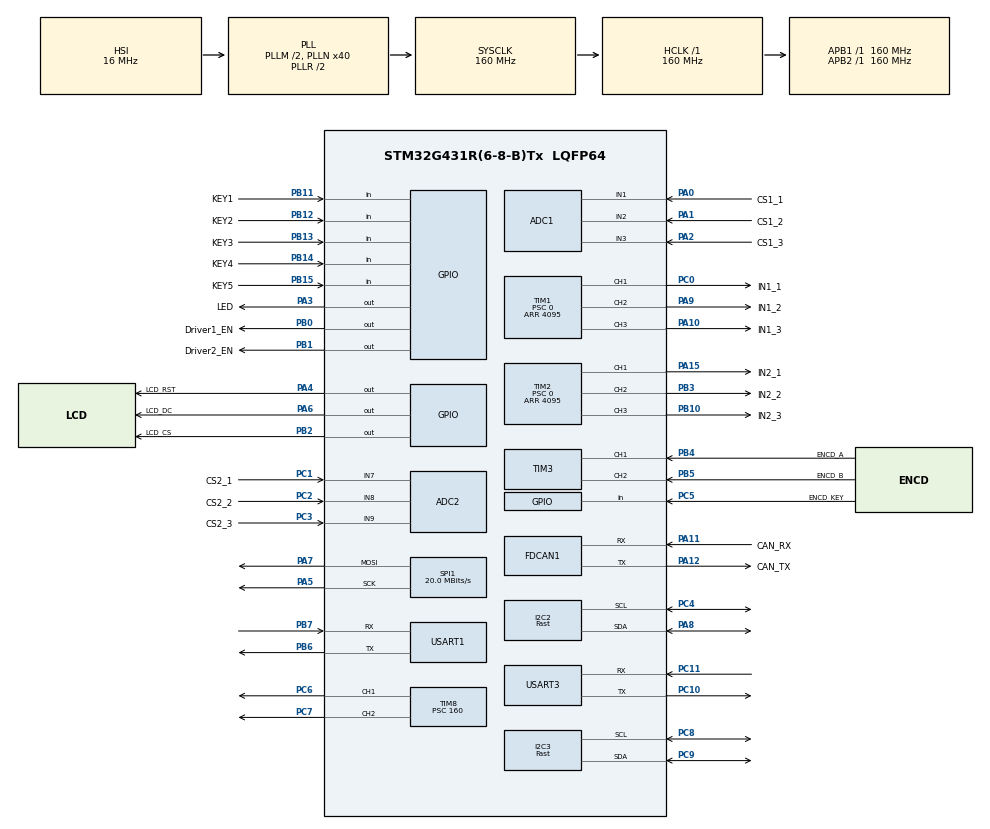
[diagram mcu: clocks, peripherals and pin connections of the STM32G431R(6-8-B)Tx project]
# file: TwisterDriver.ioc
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ADC1.Channel-3\#ChannelRegularConversion=ADC_CHANNEL_1
ADC1.Channel-4\#ChannelRegularConversion=ADC_CHANNEL_2
ADC1.Channel-5\#ChannelRegularConversion=ADC_CHANNEL_3
ADC1.ClockPrescaler=ADC_CLOCK_ASYNC_DIV10
ADC1.DiscontinuousConvMode=ENABLE
ADC1.NbrOfConversion=3
ADC1.NbrOfConversionFlag=1
ADC1.OffsetNumber-3\#ChannelRegularConversion=ADC_OFFSET_NONE
ADC1.OffsetNumber-4\#ChannelRegularConversion=ADC_OFFSET_NONE
ADC1.OffsetNumber-5\#ChannelRegularConversion=ADC_OFFSET_NONE
ADC1.Rank-3\#ChannelRegularConversion=1
ADC1.Rank-4\#ChannelRegularConversion=2
ADC1.Rank-5\#ChannelRegularConversion=3
ADC1.SamplingTime-3\#ChannelRegularConversion=ADC_SAMPLETIME_12CYCLES_5
ADC1.SamplingTime-4\#ChannelRegularConversion=ADC_SAMPLETIME_12CYCLES_5
ADC1.SamplingTime-5\#ChannelRegularConversion=ADC_SAMPLETIME_12CYCLES_5
ADC1.master=1
ADC2.Channel-0\#ChannelRegularConversion=ADC_CHANNEL_7
ADC2.Channel-1\#ChannelRegularConversion=ADC_CHANNEL_8
ADC2.Channel-2\#ChannelRegularConversion=ADC_CHANNEL_9
ADC2.ClockPrescaler=ADC_CLOCK_ASYNC_DIV10
ADC2.ContinuousConvMode=DISABLE
ADC2.DiscontinuousConvMode=ENABLE
ADC2.NbrOfConversion=3
ADC2.NbrOfConversionFlag=1
ADC2.OffsetNumber-0\#ChannelRegularConversion=ADC_OFFSET_NONE
ADC2.OffsetNumber-1\#ChannelRegularConversion=ADC_OFFSET_NONE
ADC2.OffsetNumber-2\#ChannelRegularConversion=ADC_OFFSET_NONE
ADC2.Rank-0\#ChannelRegularConversion=1
ADC2.Rank-1\#ChannelRegularConversion=2
ADC2.Rank-2\#ChannelRegularConversion=3
ADC2.SamplingTime-0\#ChannelRegularConversion=ADC_SAMPLETIME_6CYCLES_5
ADC2.SamplingTime-1\#ChannelRegularConversion=ADC_SAMPLETIME_6CYCLES_5
ADC2.SamplingTime-2\#ChannelRegularConversion=ADC_SAMPLETIME_6CYCLES_5
Dma.ADC2.2.Direction=DMA_PERIPH_TO_MEMORY
Dma.ADC2.2.EventEnable=DISABLE
Dma.ADC2.2.Instance=DMA1_Channel4
Dma.ADC2.2.MemDataAlignment=DMA_MDATAALIGN_HALFWORD
Dma.ADC2.2.MemInc=DMA_MINC_ENABLE
Dma.ADC2.2.Mode=DMA_NORMAL
Dma.ADC2.2.PeriphDataAlignment=DMA_PDATAALIGN_HALFWORD
Dma.ADC2.2.PeriphInc=DMA_PINC_DISABLE
Dma.ADC2.2.Polarity=HAL_DMAMUX_REQ_GEN_RISING
Dma.ADC2.2.Priority=DMA_PRIORITY_LOW
Dma.ADC2.2.RequestNumber=1
Dma.ADC2.2.SignalID=NONE
Dma.ADC2.2.SyncEnable=DISABLE
Dma.ADC2.2.SyncPolarity=HAL_DMAMUX_SYNC_NO_EVENT
Dma.ADC2.2.SyncRequestNumber=1
Dma.ADC2.2.SyncSignalID=NONE
Dma.Request0=SPI1_TX
Dma.Request1=USART3_RX
Dma.Request2=ADC2
Dma.SPI1_TX.0.Direction=DMA_MEMORY_TO_PERIPH
Dma.SPI1_TX.0.EventEnable=DISABLE
Dma.SPI1_TX.0.Instance=DMA1_Channel1
Dma.SPI1_TX.0.MemDataAlignment=DMA_MDATAALIGN_BYTE
Dma.SPI1_TX.0.MemInc=DMA_MINC_ENABLE
Dma.SPI1_TX.0.Mode=DMA_NORMAL
Dma.SPI1_TX.0.PeriphDataAlignment=DMA_PDATAALIGN_BYTE
Dma.SPI1_TX.0.PeriphInc=DMA_PINC_DISABLE
Dma.SPI1_TX.0.Polarity=HAL_DMAMUX_REQ_GEN_RISING
Dma.SPI1_TX.0.Priority=DMA_PRIORITY_LOW
Dma.SPI1_TX.0.RequestNumber=1
Dma.SPI1_TX.0.SignalID=NONE
Dma.SPI1_TX.0.SyncEnable=DISABLE
Dma.SPI1_TX.0.SyncPolarity=HAL_DMAMUX_SYNC_NO_EVENT
Dma.SPI1_TX.0.SyncRequestNumber=1
Dma.SPI1_TX.0.SyncSignalID=NONE
Dma.USART3_RX.1.Direction=DMA_PERIPH_TO_MEMORY
Dma.USART3_RX.1.EventEnable=DISABLE
Dma.USART3_RX.1.Instance=DMA1_Channel2
Dma.USART3_RX.1.MemDataAlignment=DMA_MDATAALIGN_BYTE
Dma.USART3_RX.1.MemInc=DMA_MINC_ENABLE
Dma.USART3_RX.1.Mode=DMA_NORMAL
Dma.USART3_RX.1.PeriphDataAlignment=DMA_PDATAALIGN_BYTE
Dma.USART3_RX.1.PeriphInc=DMA_PINC_DISABLE
Dma.USART3_RX.1.Polarity=HAL_DMAMUX_REQ_GEN_RISING
Dma.USART3_RX.1.Priority=DMA_PRIORITY_LOW
Dma.USART3_RX.1.RequestNumber=1
Dma.USART3_RX.1.SignalID=NONE
Dma.USART3_RX.1.SyncEnable=DISABLE
Dma.USART3_RX.1.SyncPolarity=HAL_DMAMUX_SYNC_NO_EVENT
Dma.USART3_RX.1.SyncRequestNumber=1
Dma.USART3_RX.1.SyncSignalID=NONE
FDCAN1.CalculateBaudRateNominal=2000000
FDCAN1.CalculateTimeBitNominal=500
FDCAN1.CalculateTimeQuantumNominal=100.0
FREERTOS.Tasks01=defaultTask,0,128,StartDefaultTask,Default,NULL,Dynamic,NULL,NULL
FREERTOS.configENABLE_FPU=1
FREERTOS.configTOTAL_HEAP_SIZE=2048 * 10
I2C2.I2C_Speed_Mode=I2C_Fast
I2C2.Timing=0x00F07BFF
I2C3.I2C_Speed_Mode=I2C_Fast
I2C3.Timing=0x00F07BFF
Mcu.Family=STM32G4
Mcu.Name=STM32G431R(6-8-B)Tx
Mcu.Package=LQFP64
NVIC.DMA1_Channel1_IRQn=true\:5\:0\:false\:false\:true\:true\:false\:true\:true
NVIC.DMA1_Channel2_IRQn=true\:5\:0\:false\:false\:true\:true\:false\:true\:true
NVIC.DMA1_Channel4_IRQn=true\:5\:0\:false\:false\:true\:true\:false\:true\:true
NVIC.PriorityGroup=NVIC_PRIORITYGROUP_4
NVIC.USART1_IRQn=true\:6\:0\:true\:false\:true\:true\:true\:true\:true
NVIC.USART3_IRQn=true\:6\:0\:true\:false\:true\:true\:true\:true\:true
PA0.GPIO_Label=CS1_1
PA0.Signal=SharedAnalog_PA0
PA1.GPIO_Label=CS1_2
PA1.Signal=SharedAnalog_PA1
PA10.GPIO_Label=IN1_3
PA10.Signal=S_TIM1_CH3
PA11.GPIO_Label=CAN_RX
PA11.Mode=FDCAN_Activate
PA11.Signal=FDCAN1_RX
PA12.GPIO_Label=CAN_TX
PA12.Mode=FDCAN_Activate
PA12.Signal=FDCAN1_TX
PA13.Mode=Serial_Wire
PA13.Signal=SYS_JTMS-SWDIO
PA14.Mode=Serial_Wire
PA14.Signal=SYS_JTCK-SWCLK
PA15.GPIO_Label=IN2_1
PA15.Signal=S_TIM2_CH1
PA2.GPIO_Label=CS1_3
PA2.Signal=SharedAnalog_PA2
PA3.GPIO_Label=LED
PA3.Signal=GPIO_Output
PA4.GPIO_Label=LCD_RST
PA4.Signal=GPIO_Output
PA5.GPIO_PuPd=GPIO_PULLUP
PA5.GPIO_Speed=GPIO_SPEED_FREQ_HIGH
PA5.Mode=TX_Only_Simplex_Unidirect_Master
PA5.Signal=SPI1_SCK
PA6.GPIO_Label=LCD_DC
PA6.Signal=GPIO_Output
PA7.GPIO_PuPd=GPIO_PULLUP
PA7.GPIO_Speed=GPIO_SPEED_FREQ_HIGH
PA7.Mode=TX_Only_Simplex_Unidirect_Master
PA7.Signal=SPI1_MOSI
PA8.Mode=I2C
PA8.Signal=I2C2_SDA
PA9.GPIO_Label=IN1_2
PA9.Signal=S_TIM1_CH2
PB0.GPIO_Label=Driver1_EN
PB0.Signal=GPIO_Output
PB1.GPIO_Label=Driver2_EN
PB1.Signal=GPIO_Output
PB10.GPIO_Label=IN2_3
PB10.Signal=S_TIM2_CH3
PB11.GPIO_Label=KEY1
PB11.GPIO_PuPd=GPIO_PULLUP
PB11.Signal=GPIO_Input
PB12.GPIO_Label=KEY2
PB12.GPIO_PuPd=GPIO_PULLUP
PB12.Signal=GPIO_Input
PB13.GPIO_Label=KEY3
PB13.GPIO_PuPd=GPIO_PULLUP
PB13.Signal=GPIO_Input
PB14.GPIO_Label=KEY4
PB14.GPIO_PuPd=GPIO_PULLUP
PB14.Signal=GPIO_Input
PB15.GPIO_Label=KEY5
PB15.GPIO_PuPd=GPIO_PULLUP
PB15.Signal=GPIO_Input
PB2.GPIO_Label=LCD_CS
PB2.Signal=GPIO_Output
PB3.GPIO_Label=IN2_2
PB3.Signal=S_TIM2_CH2
PB4.GPIO_Label=ENCD_A
PB4.GPIO_PuPd=GPIO_PULLUP
PB4.Signal=S_TIM3_CH1
PB5.GPIO_Label=ENCD_B
PB5.GPIO_PuPd=GPIO_PULLUP
PB5.Signal=S_TIM3_CH2
PB6.Mode=Asynchronous
PB6.Signal=USART1_TX
PB7.Mode=Asynchronous
PB7.Signal=USART1_RX
PC0.GPIO_Label=IN1_1
PC0.Signal=S_TIM1_CH1
PC1.GPIO_Label=CS2_1
PC1.Mode=IN7-Single-Ended
PC1.Signal=ADC2_IN7
PC10.Mode=Asynchronous
PC10.Signal=USART3_TX
PC11.Mode=Asynchronous
PC11.Signal=USART3_RX
PC2.GPIO_Label=CS2_2
PC2.Mode=IN8-Single-Ended
PC2.Signal=ADC2_IN8
PC3.GPIO_Label=CS2_3
PC3.Mode=IN9-Single-Ended
PC3.Signal=ADC2_IN9
PC4.Mode=I2C
PC4.Signal=I2C2_SCL
PC5.GPIO_Label=ENCD_KEY
PC5.GPIO_PuPd=GPIO_PULLUP
PC5.Signal=GPIO_Input
PC6.Signal=S_TIM8_CH1
PC7.Signal=S_TIM8_CH2
PC8.Mode=I2C
PC8.Signal=I2C3_SCL
PC9.Mode=I2C
PC9.Signal=I2C3_SDA
PF0-OSC_IN.Mode=HSE-External-Oscillator
PF0-OSC_IN.Signal=RCC_OSC_IN
PF1-OSC_OUT.Mode=HSE-External-Oscillator
PF1-OSC_OUT.Signal=RCC_OSC_OUT
ProjectManager.HeapSize=0x200
ProjectManager.StackSize=0x400
ProjectManager.TargetToolchain=STM32CubeIDE
RCC.ADC12Freq_Value=160000000
RCC.AHBFreq_Value=160000000
RCC.APB1Freq_Value=160000000
RCC.APB1TimFreq_Value=160000000
RCC.APB2Freq_Value=160000000
RCC.APB2TimFreq_Value=160000000
RCC.CK48CLockSelection=RCC_USBCLKSOURCE_HSI48
RCC.CortexFreq_Value=160000000
RCC.EXTERNAL_CLOCK_VALUE=12288000
RCC.HCLKFreq_Value=160000000
RCC.HSE_VALUE=8000000
RCC.HSI48_VALUE=48000000
RCC.HSI_VALUE=16000000
RCC.LSE_VALUE=32768
RCC.PLLM=RCC_PLLM_DIV2
RCC.PLLN=40
RCC.SYSCLKFreq_VALUE=160000000
RCC.SYSCLKSource=RCC_SYSCLKSOURCE_PLLCLK
RCC.USBFreq_Value=48000000
RCC.VCOOutputFreq_Value=320000000
SH.S_TIM1_CH1.0=TIM1_CH1,PWM Generation1 CH1
SH.S_TIM1_CH2.0=TIM1_CH2,PWM Generation2 CH2
SH.S_TIM1_CH3.0=TIM1_CH3,PWM Generation3 CH3
SH.S_TIM2_CH1.0=TIM2_CH1,PWM Generation1 CH1
SH.S_TIM2_CH2.0=TIM2_CH2,PWM Generation2 CH2
SH.S_TIM2_CH3.0=TIM2_CH3,PWM Generation3 CH3
SH.S_TIM3_CH1.0=TIM3_CH1,Encoder_Interface
SH.S_TIM3_CH2.0=TIM3_CH2,Encoder_Interface
SH.S_TIM8_CH1.0=TIM8_CH1,PWM Generation1 CH1
SH.S_TIM8_CH2.0=TIM8_CH2,PWM Generation2 CH2
SH.SharedAnalog_PA0.0=ADC2_IN1
SH.SharedAnalog_PA0.1=ADC1_IN1,IN1-Single-Ended
SH.SharedAnalog_PA1.0=ADC2_IN2
SH.SharedAnalog_PA1.1=ADC1_IN2,IN2-Single-Ended
SH.SharedAnalog_PA2.0=GPIO_Analog
SH.SharedAnalog_PA2.1=ADC1_IN3,IN3-Single-Ended
SPI1.BaudRatePrescaler=SPI_BAUDRATEPRESCALER_8
SPI1.CLKPolarity=SPI_POLARITY_HIGH
SPI1.CalculateBaudRate=20.0 MBits/s
SPI1.DataSize=SPI_DATASIZE_8BIT
SPI1.Direction=SPI_DIRECTION_2LINES
SPI1.Mode=SPI_MODE_MASTER
SPI1.NSSPMode=SPI_NSS_PULSE_DISABLE
SPI1.VirtualType=VM_MASTER
TIM1.Channel-PWM\ Generation1\ CH1=TIM_CHANNEL_1
TIM1.Channel-PWM\ Generation2\ CH2=TIM_CHANNEL_2
TIM1.Channel-PWM\ Generation3\ CH3=TIM_CHANNEL_3
TIM1.CounterMode=TIM_COUNTERMODE_CENTERALIGNED2
TIM1.PeriodNoDither=4095
TIM1.Prescaler=0
TIM2.Channel-PWM\ Generation1\ CH1=TIM_CHANNEL_1
TIM2.Channel-PWM\ Generation2\ CH2=TIM_CHANNEL_2
TIM2.Channel-PWM\ Generation3\ CH3=TIM_CHANNEL_3
TIM2.CounterMode=TIM_COUNTERMODE_CENTERALIGNED2
TIM2.PeriodNoDither=4095
TIM2.Prescaler=0
TIM8.Channel-PWM\ Generation1\ CH1=TIM_CHANNEL_1
TIM8.Channel-PWM\ Generation2\ CH2=TIM_CHANNEL_2
TIM8.PeriodNoDither=10000
TIM8.Prescaler=160
USART1.VirtualMode-Asynchronous=VM_ASYNC
USART3.VirtualMode-Asynchronous=VM_ASYNC
VP_FREERTOS_VS_CMSIS_V1.Mode=CMSIS_V1
VP_SYS_VS_DBSignals.Mode=DisableDeadBatterySignals
board=custom

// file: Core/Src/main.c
/* USER CODE BEGIN Header */
/**
  ******************************************************************************
  * @file           : main.c
  * @brief          : Main program body
  ******************************************************************************
  * @attention
  *
  * Copyright (c) 2023 STMicroelectronics.
  * All rights reserved.
  *
  * This software is licensed under terms that can be found in the LICENSE file
  * in the root directory of this software component.
  * If no LICENSE file comes with this software, it is provided AS-IS.
  *
  ******************************************************************************
  */
/* USER CODE END Header */
#include "main.h"
#include "cmsis_os.h"

ADC_HandleTypeDef hadc1;
ADC_HandleTypeDef hadc2;
DMA_HandleTypeDef hdma_adc2;

FDCAN_HandleTypeDef hfdcan1;

I2C_HandleTypeDef hi2c2;
I2C_HandleTypeDef hi2c3;

SPI_HandleTypeDef hspi1;
DMA_HandleTypeDef hdma_spi1_tx;

TIM_HandleTypeDef htim1;
TIM_HandleTypeDef htim2;
TIM_HandleTypeDef htim3;
TIM_HandleTypeDef htim8;

UART_HandleTypeDef huart1;
UART_HandleTypeDef huart3;
DMA_HandleTypeDef hdma_usart3_rx;

osThreadId defaultTaskHandle;
/* USER CODE BEGIN PV */
t_sysLog sysLog = {
        .name = "TwisterRobot v1.0",
        .lastUpgradeTime = __DATE__,
        .sysRunTime = 0,
        .beatTime_ms = 500
};
/* USER CODE END PV */

void SystemClock_Config(void);
static void MX_GPIO_Init(void);
static void MX_DMA_Init(void);
static void MX_ADC1_Init(void);
static void MX_ADC2_Init(void);
static void MX_FDCAN1_Init(void);
static void MX_I2C2_Init(void);
static void MX_SPI1_Init(void);
static void MX_TIM1_Init(void);
static void MX_TIM2_Init(void);
static void MX_USART1_UART_Init(void);
static void MX_TIM3_Init(void);
static void MX_I2C3_Init(void);
static void MX_TIM8_Init(void);
static void MX_USART3_UART_Init(void);
void StartDefaultTask(void const * argument);

/* USER CODE BEGIN PFP */
void ButtonTask(void const *argument);

void LCDTask(void const *argument);

void UARTTask(void const *argument);

void CANTask(void const *argument);

void FOC_LeftTask(void const *argument);

void FOC_RightTask(void const *argument);

void ServoTask(void const *argument);
/* USER CODE END PFP */

/* USER CODE BEGIN 0 */
osThreadId ButtonTaskHandle;
osThreadId LCDTaskHandle;
osThreadId UARTTaskHandle;
osThreadId CANTaskHandle;
osThreadId FOC_LeftTaskHandle;
osThreadId FOC_RightTaskHandle;
osThreadId ServoTaskHandle;

osMutexDef(printfMutex);
osMutexId printfMutex;

osPoolDef(JsonQ_Mem, 5, t_JsonPackage);
osMessageQDef(JsonQueue, 5, uint32_t);
osPoolId JsonQ_Mem;
osMessageQId JsonQueueHandle;

#define UART_STARTFLAG '{'
#define UART_ENDFLAG '}'

void HAL_UART_RxCpltCallback(UART_HandleTypeDef *huart){
    if(huart == &huart3){
        static uint16_t uart3_RxFlag;
        static uint8_t uart3_RxStatus;
        switch(uart3_RxStatus){
            case 0:
                if(uart3Buffer[uart3_RxFlag] == UART_STARTFLAG){
                    uart3_RxFlag++;
                    uart3_RxStatus = 1;
                }else{
                    uart3Buffer[0] = '\0';
                }
                break;
            case 1:
                if(uart3Buffer[uart3_RxFlag] == UART_ENDFLAG){
                    t_JsonPackage *JsonPtr;

                    uart3Buffer[uart3_RxFlag + 1] = '\0';
                    JsonPtr = osPoolAlloc(JsonQ_Mem);
                    if(JsonPtr != NULL){
                        memcpy(JsonPtr->JsonString, uart3Buffer, uart3_RxFlag + 1);
                        JsonPtr->JsonString[uart3_RxFlag + 1] = '\0';
                        if(osMessagePut(JsonQueueHandle, (uint32_t)JsonPtr, 0) != osOK){
                            osPoolFree(JsonQ_Mem, JsonPtr);
                        }
                    }

                    uart3_RxFlag = 0;
                    uart3_RxStatus = 0;
                }else if(uart3_RxFlag < sizeof(uart3Buffer) - 2U){
                    uart3_RxFlag++;
                }else{
                    uart3_RxFlag = 0;
                    uart3_RxStatus = 0;
                    uart3Buffer[0] = '\0';
                }
                break;
            default:
                uart3_RxFlag = 0;
                uart3_RxStatus = 0;
                break;
        }
        HAL_UART_Receive_IT(&huart3, (uint8_t*)&uart3Buffer[uart3_RxFlag], 1);
    }
}
/* USER CODE END 0 */

int main(void)
{

  /* MCU Configuration--------------------------------------------------------*/

  /* Reset of all peripherals, Initializes the Flash interface and the Systick. */
  HAL_Init();

  /* Configure the system clock */
  SystemClock_Config();

  /* Initialize all configured peripherals */
  MX_GPIO_Init();
  MX_DMA_Init();
  MX_ADC1_Init();
  MX_ADC2_Init();
  MX_FDCAN1_Init();
  MX_I2C2_Init();
  MX_SPI1_Init();
  MX_TIM1_Init();
  MX_TIM2_Init();
  MX_USART1_UART_Init();
  MX_TIM3_Init();
  MX_I2C3_Init();
  MX_TIM8_Init();
  MX_USART3_UART_Init();
  /* USER CODE BEGIN 2 */
//    NVIC_SetPriorityGrouping(0);
  /* USER CODE END 2 */

  /* USER CODE BEGIN RTOS_MUTEX */
    /* add mutexes, ... */
    printfMutex = osMutexCreate(osMutex(printfMutex));
  /* USER CODE END RTOS_MUTEX */

  /* USER CODE BEGIN RTOS_QUEUES */
    /* add queues, ... */
    JsonQ_Mem = osPoolCreate(osPool(JsonQ_Mem));
    JsonQueueHandle = osMessageCreate(osMessageQ(JsonQueue), NULL);
  /* USER CODE END RTOS_QUEUES */

  /* Create the thread(s) */
  /* definition and creation of defaultTask */
  osThreadDef(defaultTask, StartDefaultTask, osPriorityNormal, 0, 128);
  defaultTaskHandle = osThreadCreate(osThread(defaultTask), NULL);

  /* Start scheduler */
  osKernelStart();
  /* We should never get here as control is now taken by the scheduler */
  /* Infinite loop */
    while (1) {

    }
}

void SystemClock_Config(void)
{
  RCC_OscInitTypeDef RCC_OscInitStruct = {0};
  RCC_ClkInitTypeDef RCC_ClkInitStruct = {0};

  /** Configure the main internal regulator output voltage
  */
  HAL_PWREx_ControlVoltageScaling(PWR_REGULATOR_VOLTAGE_SCALE1_BOOST);

  /** Initializes the RCC Oscillators according to the specified parameters
  * in the RCC_OscInitTypeDef structure.
  */
  RCC_OscInitStruct.OscillatorType = RCC_OSCILLATORTYPE_HSI;
  RCC_OscInitStruct.HSIState = RCC_HSI_ON;
  RCC_OscInitStruct.HSICalibrationValue = RCC_HSICALIBRATION_DEFAULT;
  RCC_OscInitStruct.PLL.PLLState = RCC_PLL_ON;
  RCC_OscInitStruct.PLL.PLLSource = RCC_PLLSOURCE_HSI;
  RCC_OscInitStruct.PLL.PLLM = RCC_PLLM_DIV2;
  RCC_OscInitStruct.PLL.PLLN = 40;
  RCC_OscInitStruct.PLL.PLLP = RCC_PLLP_DIV2;
  RCC_OscInitStruct.PLL.PLLQ = RCC_PLLQ_DIV2;
  RCC_OscInitStruct.PLL.PLLR = RCC_PLLR_DIV2;
  if (HAL_RCC_OscConfig(&RCC_OscInitStruct) != HAL_OK)
  {
    Error_Handler();
  }

  /** Initializes the CPU, AHB and APB buses clocks
  */
  RCC_ClkInitStruct.ClockType = RCC_CLOCKTYPE_HCLK|RCC_CLOCKTYPE_SYSCLK
                              |RCC_CLOCKTYPE_PCLK1|RCC_CLOCKTYPE_PCLK2;
  RCC_ClkInitStruct.SYSCLKSource = RCC_SYSCLKSOURCE_PLLCLK;
  RCC_ClkInitStruct.AHBCLKDivider = RCC_SYSCLK_DIV1;
  RCC_ClkInitStruct.APB1CLKDivider = RCC_HCLK_DIV1;
  RCC_ClkInitStruct.APB2CLKDivider = RCC_HCLK_DIV1;

  if (HAL_RCC_ClockConfig(&RCC_ClkInitStruct, FLASH_LATENCY_4) != HAL_OK)
  {
    Error_Handler();
  }
}

static void MX_ADC1_Init(void)
{

  ADC_MultiModeTypeDef multimode = {0};
  ADC_ChannelConfTypeDef sConfig = {0};

  /** Common config
  */
  hadc1.Instance = ADC1;
  hadc1.Init.ClockPrescaler = ADC_CLOCK_ASYNC_DIV10;
  hadc1.Init.Resolution = ADC_RESOLUTION_12B;
  hadc1.Init.DataAlign = ADC_DATAALIGN_RIGHT;
  hadc1.Init.GainCompensation = 0;
  hadc1.Init.ScanConvMode = ADC_SCAN_ENABLE;
  hadc1.Init.EOCSelection = ADC_EOC_SINGLE_CONV;
  hadc1.Init.LowPowerAutoWait = DISABLE;
  hadc1.Init.ContinuousConvMode = DISABLE;
  hadc1.Init.NbrOfConversion = 3;
  hadc1.Init.DiscontinuousConvMode = ENABLE;
  hadc1.Init.NbrOfDiscConversion = 1;
  hadc1.Init.ExternalTrigConv = ADC_SOFTWARE_START;
  hadc1.Init.ExternalTrigConvEdge = ADC_EXTERNALTRIGCONVEDGE_NONE;
  hadc1.Init.DMAContinuousRequests = DISABLE;
  hadc1.Init.Overrun = ADC_OVR_DATA_PRESERVED;
  hadc1.Init.OversamplingMode = DISABLE;
  if (HAL_ADC_Init(&hadc1) != HAL_OK)
  {
    Error_Handler();
  }

  /** Configure the ADC multi-mode
  */
  multimode.Mode = ADC_MODE_INDEPENDENT;
  if (HAL_ADCEx_MultiModeConfigChannel(&hadc1, &multimode) != HAL_OK)
  {
    Error_Handler();
  }

  /** Configure Regular Channel
  */
  sConfig.Channel = ADC_CHANNEL_1;
  sConfig.Rank = ADC_REGULAR_RANK_1;
  sConfig.SamplingTime = ADC_SAMPLETIME_12CYCLES_5;
  sConfig.SingleDiff = ADC_SINGLE_ENDED;
  sConfig.OffsetNumber = ADC_OFFSET_NONE;
  sConfig.Offset = 0;
  if (HAL_ADC_ConfigChannel(&hadc1, &sConfig) != HAL_OK)
  {
    Error_Handler();
  }

  /** Configure Regular Channel
  */
  sConfig.Channel = ADC_CHANNEL_2;
  sConfig.Rank = ADC_REGULAR_RANK_2;
  if (HAL_ADC_ConfigChannel(&hadc1, &sConfig) != HAL_OK)
  {
    Error_Handler();
  }

  /** Configure Regular Channel
  */
  sConfig.Channel = ADC_CHANNEL_3;
  sConfig.Rank = ADC_REGULAR_RANK_3;
  if (HAL_ADC_ConfigChannel(&hadc1, &sConfig) != HAL_OK)
  {
    Error_Handler();
  }

}

static void MX_ADC2_Init(void)
{

  ADC_ChannelConfTypeDef sConfig = {0};

  /** Common config
  */
  hadc2.Instance = ADC2;
  hadc2.Init.ClockPrescaler = ADC_CLOCK_ASYNC_DIV10;
  hadc2.Init.Resolution = ADC_RESOLUTION_12B;
  hadc2.Init.DataAlign = ADC_DATAALIGN_RIGHT;
  hadc2.Init.GainCompensation = 0;
  hadc2.Init.ScanConvMode = ADC_SCAN_ENABLE;
  hadc2.Init.EOCSelection = ADC_EOC_SINGLE_CONV;
  hadc2.Init.LowPowerAutoWait = DISABLE;
  hadc2.Init.ContinuousConvMode = DISABLE;
  hadc2.Init.NbrOfConversion = 3;
  hadc2.Init.DiscontinuousConvMode = ENABLE;
  hadc2.Init.NbrOfDiscConversion = 1;
  hadc2.Init.ExternalTrigConv = ADC_SOFTWARE_START;
  hadc2.Init.ExternalTrigConvEdge = ADC_EXTERNALTRIGCONVEDGE_NONE;
  hadc2.Init.DMAContinuousRequests = DISABLE;
  hadc2.Init.Overrun = ADC_OVR_DATA_PRESERVED;
  hadc2.Init.OversamplingMode = DISABLE;
  if (HAL_ADC_Init(&hadc2) != HAL_OK)
  {
    Error_Handler();
  }

  /** Configure Regular Channel
  */
  sConfig.Channel = ADC_CHANNEL_7;
  sConfig.Rank = ADC_REGULAR_RANK_1;
  sConfig.SamplingTime = ADC_SAMPLETIME_6CYCLES_5;
  sConfig.SingleDiff = ADC_SINGLE_ENDED;
  sConfig.OffsetNumber = ADC_OFFSET_NONE;
  sConfig.Offset = 0;
  if (HAL_ADC_ConfigChannel(&hadc2, &sConfig) != HAL_OK)
  {
    Error_Handler();
  }

  /** Configure Regular Channel
  */
  sConfig.Channel = ADC_CHANNEL_8;
  sConfig.Rank = ADC_REGULAR_RANK_2;
  if (HAL_ADC_ConfigChannel(&hadc2, &sConfig) != HAL_OK)
  {
    Error_Handler();
  }

  /** Configure Regular Channel
  */
  sConfig.Channel = ADC_CHANNEL_9;
  sConfig.Rank = ADC_REGULAR_RANK_3;
  if (HAL_ADC_ConfigChannel(&hadc2, &sConfig) != HAL_OK)
  {
    Error_Handler();
  }

}

static void MX_FDCAN1_Init(void)
{

  hfdcan1.Instance = FDCAN1;
  hfdcan1.Init.ClockDivider = FDCAN_CLOCK_DIV1;
  hfdcan1.Init.FrameFormat = FDCAN_FRAME_CLASSIC;
  hfdcan1.Init.Mode = FDCAN_MODE_NORMAL;
  hfdcan1.Init.AutoRetransmission = DISABLE;
  hfdcan1.Init.TransmitPause = DISABLE;
  hfdcan1.Init.ProtocolException = DISABLE;
  hfdcan1.Init.NominalPrescaler = 16;
  hfdcan1.Init.NominalSyncJumpWidth = 1;
  hfdcan1.Init.NominalTimeSeg1 = 2;
  hfdcan1.Init.NominalTimeSeg2 = 2;
  hfdcan1.Init.DataPrescaler = 1;
  hfdcan1.Init.DataSyncJumpWidth = 1;
  hfdcan1.Init.DataTimeSeg1 = 1;
  hfdcan1.Init.DataTimeSeg2 = 1;
  hfdcan1.Init.StdFiltersNbr = 0;
  hfdcan1.Init.ExtFiltersNbr = 0;
  hfdcan1.Init.TxFifoQueueMode = FDCAN_TX_FIFO_OPERATION;
  if (HAL_FDCAN_Init(&hfdcan1) != HAL_OK)
  {
    Error_Handler();
  }

}

static void MX_I2C2_Init(void)
{

  hi2c2.Instance = I2C2;
  hi2c2.Init.Timing = 0x00F07BFF;
  hi2c2.Init.OwnAddress1 = 0;
  hi2c2.Init.AddressingMode = I2C_ADDRESSINGMODE_7BIT;
  hi2c2.Init.DualAddressMode = I2C_DUALADDRESS_DISABLE;
  hi2c2.Init.OwnAddress2 = 0;
  hi2c2.Init.OwnAddress2Masks = I2C_OA2_NOMASK;
  hi2c2.Init.GeneralCallMode = I2C_GENERALCALL_DISABLE;
  hi2c2.Init.NoStretchMode = I2C_NOSTRETCH_DISABLE;
  if (HAL_I2C_Init(&hi2c2) != HAL_OK)
  {
    Error_Handler();
  }

  /** Configure Analogue filter
  */
  if (HAL_I2CEx_ConfigAnalogFilter(&hi2c2, I2C_ANALOGFILTER_ENABLE) != HAL_OK)
  {
    Error_Handler();
  }

  /** Configure Digital filter
  */
  if (HAL_I2CEx_ConfigDigitalFilter(&hi2c2, 0) != HAL_OK)
  {
    Error_Handler();
  }

}

static void MX_I2C3_Init(void)
{

  hi2c3.Instance = I2C3;
  hi2c3.Init.Timing = 0x00F07BFF;
  hi2c3.Init.OwnAddress1 = 0;
  hi2c3.Init.AddressingMode = I2C_ADDRESSINGMODE_7BIT;
  hi2c3.Init.DualAddressMode = I2C_DUALADDRESS_DISABLE;
  hi2c3.Init.OwnAddress2 = 0;
  hi2c3.Init.OwnAddress2Masks = I2C_OA2_NOMASK;
  hi2c3.Init.GeneralCallMode = I2C_GENERALCALL_DISABLE;
  hi2c3.Init.NoStretchMode = I2C_NOSTRETCH_DISABLE;
  if (HAL_I2C_Init(&hi2c3) != HAL_OK)
  {
    Error_Handler();
  }

  /** Configure Analogue filter
  */
  if (HAL_I2CEx_ConfigAnalogFilter(&hi2c3, I2C_ANALOGFILTER_ENABLE) != HAL_OK)
  {
    Error_Handler();
  }

  /** Configure Digital filter
  */
  if (HAL_I2CEx_ConfigDigitalFilter(&hi2c3, 0) != HAL_OK)
  {
    Error_Handler();
  }

}

static void MX_SPI1_Init(void)
{

  /* SPI1 parameter configuration*/
  hspi1.Instance = SPI1;
  hspi1.Init.Mode = SPI_MODE_MASTER;
  hspi1.Init.Direction = SPI_DIRECTION_2LINES;
  hspi1.Init.DataSize = SPI_DATASIZE_8BIT;
  hspi1.Init.CLKPolarity = SPI_POLARITY_HIGH;
  hspi1.Init.CLKPhase = SPI_PHASE_1EDGE;
  hspi1.Init.NSS = SPI_NSS_SOFT;
  hspi1.Init.BaudRatePrescaler = SPI_BAUDRATEPRESCALER_8;
  hspi1.Init.FirstBit = SPI_FIRSTBIT_MSB;
  hspi1.Init.TIMode = SPI_TIMODE_DISABLE;
  hspi1.Init.CRCCalculation = SPI_CRCCALCULATION_DISABLE;
  hspi1.Init.CRCPolynomial = 7;
  hspi1.Init.CRCLength = SPI_CRC_LENGTH_DATASIZE;
  hspi1.Init.NSSPMode = SPI_NSS_PULSE_DISABLE;
  if (HAL_SPI_Init(&hspi1) != HAL_OK)
  {
    Error_Handler();
  }

}

static void MX_TIM1_Init(void)
{

  TIM_MasterConfigTypeDef sMasterConfig = {0};
  TIM_OC_InitTypeDef sConfigOC = {0};
  TIM_BreakDeadTimeConfigTypeDef sBreakDeadTimeConfig = {0};

  htim1.Instance = TIM1;
  htim1.Init.Prescaler = 0;
  htim1.Init.CounterMode = TIM_COUNTERMODE_CENTERALIGNED2;
  htim1.Init.Period = 4095;
  htim1.Init.ClockDivision = TIM_CLOCKDIVISION_DIV1;
  htim1.Init.RepetitionCounter = 0;
  htim1.Init.AutoReloadPreload = TIM_AUTORELOAD_PRELOAD_DISABLE;
  if (HAL_TIM_PWM_Init(&htim1) != HAL_OK)
  {
    Error_Handler();
  }
  sMasterConfig.MasterOutputTrigger = TIM_TRGO_RESET;
  sMasterConfig.MasterOutputTrigger2 = TIM_TRGO2_RESET;
  sMasterConfig.MasterSlaveMode = TIM_MASTERSLAVEMODE_DISABLE;
  if (HAL_TIMEx_MasterConfigSynchronization(&htim1, &sMasterConfig) != HAL_OK)
  {
    Error_Handler();
  }
  sConfigOC.OCMode = TIM_OCMODE_PWM1;
  sConfigOC.Pulse = 0;
  sConfigOC.OCPolarity = TIM_OCPOLARITY_HIGH;
  sConfigOC.OCNPolarity = TIM_OCNPOLARITY_HIGH;
  sConfigOC.OCFastMode = TIM_OCFAST_DISABLE;
  sConfigOC.OCIdleState = TIM_OCIDLESTATE_RESET;
  sConfigOC.OCNIdleState = TIM_OCNIDLESTATE_RESET;
  if (HAL_TIM_PWM_ConfigChannel(&htim1, &sConfigOC, TIM_CHANNEL_1) != HAL_OK)
  {
    Error_Handler();
  }
  if (HAL_TIM_PWM_ConfigChannel(&htim1, &sConfigOC, TIM_CHANNEL_2) != HAL_OK)
  {
    Error_Handler();
  }
  if (HAL_TIM_PWM_ConfigChannel(&htim1, &sConfigOC, TIM_CHANNEL_3) != HAL_OK)
  {
    Error_Handler();
  }
  sBreakDeadTimeConfig.OffStateRunMode = TIM_OSSR_DISABLE;
  sBreakDeadTimeConfig.OffStateIDLEMode = TIM_OSSI_DISABLE;
  sBreakDeadTimeConfig.LockLevel = TIM_LOCKLEVEL_OFF;
  sBreakDeadTimeConfig.DeadTime = 0;
  sBreakDeadTimeConfig.BreakState = TIM_BREAK_DISABLE;
  sBreakDeadTimeConfig.BreakPolarity = TIM_BREAKPOLARITY_HIGH;
  sBreakDeadTimeConfig.BreakFilter = 0;
  sBreakDeadTimeConfig.BreakAFMode = TIM_BREAK_AFMODE_INPUT;
  sBreakDeadTimeConfig.Break2State = TIM_BREAK2_DISABLE;
  sBreakDeadTimeConfig.Break2Polarity = TIM_BREAK2POLARITY_HIGH;
  sBreakDeadTimeConfig.Break2Filter = 0;
  sBreakDeadTimeConfig.Break2AFMode = TIM_BREAK_AFMODE_INPUT;
  sBreakDeadTimeConfig.AutomaticOutput = TIM_AUTOMATICOUTPUT_DISABLE;
  if (HAL_TIMEx_ConfigBreakDeadTime(&htim1, &sBreakDeadTimeConfig) != HAL_OK)
  {
    Error_Handler();
  }
  HAL_TIM_MspPostInit(&htim1);

}

static void MX_TIM2_Init(void)
{

  TIM_MasterConfigTypeDef sMasterConfig = {0};
  TIM_OC_InitTypeDef sConfigOC = {0};

  htim2.Instance = TIM2;
  htim2.Init.Prescaler = 0;
  htim2.Init.CounterMode = TIM_COUNTERMODE_CENTERALIGNED2;
  htim2.Init.Period = 4095;
  htim2.Init.ClockDivision = TIM_CLOCKDIVISION_DIV1;
  htim2.Init.AutoReloadPreload = TIM_AUTORELOAD_PRELOAD_DISABLE;
  if (HAL_TIM_PWM_Init(&htim2) != HAL_OK)
  {
    Error_Handler();
  }
  sMasterConfig.MasterOutputTrigger = TIM_TRGO_RESET;
  sMasterConfig.MasterSlaveMode = TIM_MASTERSLAVEMODE_DISABLE;
  if (HAL_TIMEx_MasterConfigSynchronization(&htim2, &sMasterConfig) != HAL_OK)
  {
    Error_Handler();
  }
  sConfigOC.OCMode = TIM_OCMODE_PWM1;
  sConfigOC.Pulse = 0;
  sConfigOC.OCPolarity = TIM_OCPOLARITY_HIGH;
  sConfigOC.OCFastMode = TIM_OCFAST_DISABLE;
  if (HAL_TIM_PWM_ConfigChannel(&htim2, &sConfigOC, TIM_CHANNEL_1) != HAL_OK)
  {
    Error_Handler();
  }
  if (HAL_TIM_PWM_ConfigChannel(&htim2, &sConfigOC, TIM_CHANNEL_2) != HAL_OK)
  {
    Error_Handler();
  }
  if (HAL_TIM_PWM_ConfigChannel(&htim2, &sConfigOC, TIM_CHANNEL_3) != HAL_OK)
  {
    Error_Handler();
  }
  HAL_TIM_MspPostInit(&htim2);

}

static void MX_TIM3_Init(void)
{

  TIM_Encoder_InitTypeDef sConfig = {0};
  TIM_MasterConfigTypeDef sMasterConfig = {0};

  htim3.Instance = TIM3;
  htim3.Init.Prescaler = 0;
  htim3.Init.CounterMode = TIM_COUNTERMODE_UP;
  htim3.Init.Period = 65535;
  htim3.Init.ClockDivision = TIM_CLOCKDIVISION_DIV1;
  htim3.Init.AutoReloadPreload = TIM_AUTORELOAD_PRELOAD_DISABLE;
  sConfig.EncoderMode = TIM_ENCODERMODE_TI1;
  sConfig.IC1Polarity = TIM_ICPOLARITY_RISING;
  sConfig.IC1Selection = TIM_ICSELECTION_DIRECTTI;
  sConfig.IC1Prescaler = TIM_ICPSC_DIV1;
  sConfig.IC1Filter = 0;
  sConfig.IC2Polarity = TIM_ICPOLARITY_RISING;
  sConfig.IC2Selection = TIM_ICSELECTION_DIRECTTI;
  sConfig.IC2Prescaler = TIM_ICPSC_DIV1;
  sConfig.IC2Filter = 0;
  if (HAL_TIM_Encoder_Init(&htim3, &sConfig) != HAL_OK)
  {
    Error_Handler();
  }
  sMasterConfig.MasterOutputTrigger = TIM_TRGO_RESET;
  sMasterConfig.MasterSlaveMode = TIM_MASTERSLAVEMODE_DISABLE;
  if (HAL_TIMEx_MasterConfigSynchronization(&htim3, &sMasterConfig) != HAL_OK)
  {
    Error_Handler();
  }

}

static void MX_TIM8_Init(void)
{

  TIM_MasterConfigTypeDef sMasterConfig = {0};
  TIM_OC_InitTypeDef sConfigOC = {0};
  TIM_BreakDeadTimeConfigTypeDef sBreakDeadTimeConfig = {0};

  htim8.Instance = TIM8;
  htim8.Init.Prescaler = 160;
  htim8.Init.CounterMode = TIM_COUNTERMODE_UP;
  htim8.Init.Period = 10000;
  htim8.Init.ClockDivision = TIM_CLOCKDIVISION_DIV1;
  htim8.Init.RepetitionCounter = 0;
  htim8.Init.AutoReloadPreload = TIM_AUTORELOAD_PRELOAD_DISABLE;
  if (HAL_TIM_PWM_Init(&htim8) != HAL_OK)
  {
    Error_Handler();
  }
  sMasterConfig.MasterOutputTrigger = TIM_TRGO_RESET;
  sMasterConfig.MasterOutputTrigger2 = TIM_TRGO2_RESET;
  sMasterConfig.MasterSlaveMode = TIM_MASTERSLAVEMODE_DISABLE;
  if (HAL_TIMEx_MasterConfigSynchronization(&htim8, &sMasterConfig) != HAL_OK)
  {
    Error_Handler();
  }
  sConfigOC.OCMode = TIM_OCMODE_PWM1;
  sConfigOC.Pulse = 0;
  sConfigOC.OCPolarity = TIM_OCPOLARITY_HIGH;
  sConfigOC.OCNPolarity = TIM_OCNPOLARITY_HIGH;
  sConfigOC.OCFastMode = TIM_OCFAST_DISABLE;
  sConfigOC.OCIdleState = TIM_OCIDLESTATE_RESET;
  sConfigOC.OCNIdleState = TIM_OCNIDLESTATE_RESET;
  if (HAL_TIM_PWM_ConfigChannel(&htim8, &sConfigOC, TIM_CHANNEL_1) != HAL_OK)
  {
    Error_Handler();
  }
  if (HAL_TIM_PWM_ConfigChannel(&htim8, &sConfigOC, TIM_CHANNEL_2) != HAL_OK)
  {
    Error_Handler();
  }
  sBreakDeadTimeConfig.OffStateRunMode = TIM_OSSR_DISABLE;
  sBreakDeadTimeConfig.OffStateIDLEMode = TIM_OSSI_DISABLE;
  sBreakDeadTimeConfig.LockLevel = TIM_LOCKLEVEL_OFF;
  sBreakDeadTimeConfig.DeadTime = 0;
  sBreakDeadTimeConfig.BreakState = TIM_BREAK_DISABLE;
  sBreakDeadTimeConfig.BreakPolarity = TIM_BREAKPOLARITY_HIGH;
  sBreakDeadTimeConfig.BreakFilter = 0;
  sBreakDeadTimeConfig.BreakAFMode = TIM_BREAK_AFMODE_INPUT;
  sBreakDeadTimeConfig.Break2State = TIM_BREAK2_DISABLE;
  sBreakDeadTimeConfig.Break2Polarity = TIM_BREAK2POLARITY_HIGH;
  sBreakDeadTimeConfig.Break2Filter = 0;
  sBreakDeadTimeConfig.Break2AFMode = TIM_BREAK_AFMODE_INPUT;
  sBreakDeadTimeConfig.AutomaticOutput = TIM_AUTOMATICOUTPUT_DISABLE;
  if (HAL_TIMEx_ConfigBreakDeadTime(&htim8, &sBreakDeadTimeConfig) != HAL_OK)
  {
    Error_Handler();
  }
  HAL_TIM_MspPostInit(&htim8);

}

static void MX_USART1_UART_Init(void)
{

  huart1.Instance = USART1;
  huart1.Init.BaudRate = 115200;
  huart1.Init.WordLength = UART_WORDLENGTH_8B;
  huart1.Init.StopBits = UART_STOPBITS_1;
  huart1.Init.Parity = UART_PARITY_NONE;
  huart1.Init.Mode = UART_MODE_TX_RX;
  huart1.Init.HwFlowCtl = UART_HWCONTROL_NONE;
  huart1.Init.OverSampling = UART_OVERSAMPLING_16;
  huart1.Init.OneBitSampling = UART_ONE_BIT_SAMPLE_DISABLE;
  huart1.Init.ClockPrescaler = UART_PRESCALER_DIV1;
  huart1.AdvancedInit.AdvFeatureInit = UART_ADVFEATURE_NO_INIT;
  if (HAL_UART_Init(&huart1) != HAL_OK)
  {
    Error_Handler();
  }
  if (HAL_UARTEx_SetTxFifoThreshold(&huart1, UART_TXFIFO_THRESHOLD_1_8) != HAL_OK)
  {
    Error_Handler();
  }
  if (HAL_UARTEx_SetRxFifoThreshold(&huart1, UART_RXFIFO_THRESHOLD_1_8) != HAL_OK)
  {
    Error_Handler();
  }
  if (HAL_UARTEx_DisableFifoMode(&huart1) != HAL_OK)
  {
    Error_Handler();
  }

}

static void MX_USART3_UART_Init(void)
{

  huart3.Instance = USART3;
  huart3.Init.BaudRate = 115200;
  huart3.Init.WordLength = UART_WORDLENGTH_8B;
  huart3.Init.StopBits = UART_STOPBITS_1;
  huart3.Init.Parity = UART_PARITY_NONE;
  huart3.Init.Mode = UART_MODE_TX_RX;
  huart3.Init.HwFlowCtl = UART_HWCONTROL_NONE;
  huart3.Init.OverSampling = UART_OVERSAMPLING_16;
  huart3.Init.OneBitSampling = UART_ONE_BIT_SAMPLE_DISABLE;
  huart3.Init.ClockPrescaler = UART_PRESCALER_DIV1;
  huart3.AdvancedInit.AdvFeatureInit = UART_ADVFEATURE_NO_INIT;
  if (HAL_UART_Init(&huart3) != HAL_OK)
  {
    Error_Handler();
  }
  if (HAL_UARTEx_SetTxFifoThreshold(&huart3, UART_TXFIFO_THRESHOLD_1_8) != HAL_OK)
  {
    Error_Handler();
  }
  if (HAL_UARTEx_SetRxFifoThreshold(&huart3, UART_RXFIFO_THRESHOLD_1_8) != HAL_OK)
  {
    Error_Handler();
  }
  if (HAL_UARTEx_DisableFifoMode(&huart3) != HAL_OK)
  {
    Error_Handler();
  }

}

static void MX_DMA_Init(void)
{

  /* DMA controller clock enable */
  __HAL_RCC_DMAMUX1_CLK_ENABLE();
  __HAL_RCC_DMA1_CLK_ENABLE();

  /* DMA interrupt init */
  /* DMA1_Channel1_IRQn interrupt configuration */
  HAL_NVIC_SetPriority(DMA1_Channel1_IRQn, 5, 0);
  HAL_NVIC_EnableIRQ(DMA1_Channel1_IRQn);
  /* DMA1_Channel2_IRQn interrupt configuration */
  HAL_NVIC_SetPriority(DMA1_Channel2_IRQn, 5, 0);
  HAL_NVIC_EnableIRQ(DMA1_Channel2_IRQn);
  /* DMA1_Channel4_IRQn interrupt configuration */
  HAL_NVIC_SetPriority(DMA1_Channel4_IRQn, 5, 0);
  HAL_NVIC_EnableIRQ(DMA1_Channel4_IRQn);

}

static void MX_GPIO_Init(void)
{
  GPIO_InitTypeDef GPIO_InitStruct = {0};

  /* GPIO Ports Clock Enable */
  __HAL_RCC_GPIOF_CLK_ENABLE();
  __HAL_RCC_GPIOC_CLK_ENABLE();
  __HAL_RCC_GPIOA_CLK_ENABLE();
  __HAL_RCC_GPIOB_CLK_ENABLE();

  /*Configure GPIO pin Output Level */
  HAL_GPIO_WritePin(GPIOA, LED_Pin|LCD_RST_Pin|LCD_DC_Pin, GPIO_PIN_RESET);

  /*Configure GPIO pin Output Level */
  HAL_GPIO_WritePin(GPIOB, Driver1_EN_Pin|Driver2_EN_Pin|LCD_CS_Pin, GPIO_PIN_RESET);

  /*Configure GPIO pins : LED_Pin LCD_RST_Pin LCD_DC_Pin */
  GPIO_InitStruct.Pin = LED_Pin|LCD_RST_Pin|LCD_DC_Pin;
  GPIO_InitStruct.Mode = GPIO_MODE_OUTPUT_PP;
  GPIO_InitStruct.Pull = GPIO_NOPULL;
  GPIO_InitStruct.Speed = GPIO_SPEED_FREQ_LOW;
  HAL_GPIO_Init(GPIOA, &GPIO_InitStruct);

  /*Configure GPIO pin : ENCD_KEY_Pin */
  GPIO_InitStruct.Pin = ENCD_KEY_Pin;
  GPIO_InitStruct.Mode = GPIO_MODE_INPUT;
  GPIO_InitStruct.Pull = GPIO_PULLUP;
  HAL_GPIO_Init(ENCD_KEY_GPIO_Port, &GPIO_InitStruct);

  /*Configure GPIO pins : Driver1_EN_Pin Driver2_EN_Pin LCD_CS_Pin */
  GPIO_InitStruct.Pin = Driver1_EN_Pin|Driver2_EN_Pin|LCD_CS_Pin;
  GPIO_InitStruct.Mode = GPIO_MODE_OUTPUT_PP;
  GPIO_InitStruct.Pull = GPIO_NOPULL;
  GPIO_InitStruct.Speed = GPIO_SPEED_FREQ_LOW;
  HAL_GPIO_Init(GPIOB, &GPIO_InitStruct);

  /*Configure GPIO pins : KEY1_Pin KEY2_Pin KEY3_Pin KEY4_Pin
                           KEY5_Pin */
  GPIO_InitStruct.Pin = KEY1_Pin|KEY2_Pin|KEY3_Pin|KEY4_Pin
                          |KEY5_Pin;
  GPIO_InitStruct.Mode = GPIO_MODE_INPUT;
  GPIO_InitStruct.Pull = GPIO_PULLUP;
  HAL_GPIO_Init(GPIOB, &GPIO_InitStruct);

}

void StartDefaultTask(void const * argument)
{
  /* USER CODE BEGIN 5 */
    uart3_printf("Hello World!\n");

    osThreadDef(ButtonTask, ButtonTask, osPriorityNormal, 0, 128);
//    osThreadDef(LCDTask, LCDTask, osPriorityNormal, 0, 512);
    osThreadDef(UARTTask, UARTTask, osPriorityNormal, 0, 1024);
//    osThreadDef(CANTask, CANTask, osPriorityNormal, 0, 512);
    osThreadDef(FOC_LeftTask, FOC_LeftTask, osPriorityAboveNormal, 0, 1024);
    osThreadDef(FOC_RightTask, FOC_RightTask, osPriorityAboveNormal, 0, 1500);
    osThreadDef(ServoTask, ServoTask, osPriorityAboveNormal, 0, 256);

    portENTER_CRITICAL();
    ButtonTaskHandle = osThreadCreate(osThread(ButtonTask), NULL);
//    LCDTaskHandle = osThreadCreate(osThread(LCDTask), NULL);
    UARTTaskHandle = osThreadCreate(osThread(UARTTask), NULL);
//    CANTaskHandle = osThreadCreate(osThread(CANTask), NULL);
    FOC_LeftTaskHandle = osThreadCreate(osThread(FOC_LeftTask), NULL);
    FOC_RightTaskHandle = osThreadCreate(osThread(FOC_RightTask), NULL);
    ServoTaskHandle = osThreadCreate(osThread(ServoTask), NULL);
    portEXIT_CRITICAL();

    /* Infinite loop */
    for (;;) {
        HAL_GPIO_TogglePin(LED_GPIO_Port, LED_Pin);
        osDelay(1000);
        sysLog.sysRunTime++;
    }
  /* USER CODE END 5 */
}

void Error_Handler(void)
{
    __disable_irq();
    while (1) {
    }
}

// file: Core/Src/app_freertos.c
/* USER CODE BEGIN Header */
/**
  ******************************************************************************
  * File Name          : app_freertos.c
  * Description        : Code for freertos applications
  ******************************************************************************
  * @attention
  *
  * Copyright (c) 2023 STMicroelectronics.
  * All rights reserved.
  *
  * This software is licensed under terms that can be found in the LICENSE file
  * in the root directory of this software component.
  * If no LICENSE file comes with this software, it is provided AS-IS.
  *
  ******************************************************************************
  */
/* USER CODE END Header */

#include "FreeRTOS.h"
#include "task.h"
#include "main.h"

/* USER CODE BEGIN PM */
float targetAngle_left = 60;
float targetAngle_right = 0;
float targetMotorSpeed_Left;
float targetMotorSpeed_Right;
volatile float targetMotorAngle_Left;
volatile float targetMotorAngle_Right;
volatile FOC_CONTROL_MODE focControlMode = SPEED_CONTROL;
/* USER CODE END PM */

/* USER CODE BEGIN Application */
void FOC_LeftTask(void const *argument) {
    Pid_Value_Init();
    HAL_GPIO_WritePin(Driver1_EN_GPIO_Port, Driver1_EN_Pin, 1);

    FOC_Vbus(12.3f);    //3s 电池
    FOC_alignSensor(&FOCMotor_Left, 7, -1);

    for (;;) {
//        velocityOpenLoop(&FOCMotor_Left,10);
//        FOCMotor_Left.api_getMotorCurrent(FOCMotor_Left.current);
//        FOC_setAngle(&FOCMotor_Left, targetAngle_left);
//        FOC_setVelocity(&FOCMotor_Left, targetMotorSpeed_Left);
//        FOC_setVelocityAngle(&FOCMotor_Left, targetAngle_left, 20);
        if (focControlMode == POSITION_CONTROL) {
            FOC_setAngle_currentControl(&FOCMotor_Left, targetMotorAngle_Left, 20.0f, 0.4f);
        } else {
            FOC_setVelocity_currentControl(&FOCMotor_Left, targetMotorSpeed_Left, 0.4f);
        }
//        FOC_setAngle_onlyCurrentControl(&FOCMotor_Left, targetAngle_left, 0.6f);
//        FOC_setAngle_currentControl(&FOCMotor_Left, targetAngle_left, 20, 1.0f);
//        FOC_current_control_loop(&FOCMotor_Left, targetMotorSpeed_Left*10);
        osDelay(3);
    }
}

void FOC_RightTask(void const *argument) {
//    Pid_Value_Init();
//    FOC_Vbus(12.3f);    //3s 电池
    HAL_GPIO_WritePin(Driver2_EN_GPIO_Port, Driver2_EN_Pin, 1);
    FOC_alignSensor(&FOCMotor_Right, 7, 1);
    for (;;) {
//        velocityOpenLoop(&FOCMotor_Right,10);
//        FOC_setAngle(&FOCMotor_Right, targetAngle_right);
//        FOC_setVelocity(&FOCMotor_Right, targetMotorSpeed_Right);
//        FOC_current_control_loop(&FOCMotor_Right, targetMotorSpeed_Right*10);
        if (focControlMode == POSITION_CONTROL) {
            FOC_setAngle_currentControl(&FOCMotor_Right, targetMotorAngle_Right, 20.0f, 0.4f);
        } else {
            FOC_setVelocity_currentControl(&FOCMotor_Right, targetMotorSpeed_Right, 0.4f);
        }
//        FOC_setAngle_onlyCurrentControl(&FOCMotor_Right, targetAngle_right, 0.6f);
        osDelay(3);
    }
}

void ServoTask(void const *argument) {
    Servo_init();

    setAngle_270(&Servo_LeftLeg, 60);
    setAngle_270(&Servo_RightLeg, 5);
    osDelay(500);

    for (;;) {
        setAngle_270(&Servo_LeftLeg, targetAngle_left);
        setAngle_270(&Servo_RightLeg, targetAngle_right);
        osDelay(300);
    }
}

void LCDTask(void const *argument) {
    uart3_printf("LCD Task Start\n");
    ST7735_Init();
    gui_draw_init("NinoC137", 1);
    for (;;) {
        osDelay(10);
    }
}

void UARTTask(void const *argument) {
    HAL_UART_Receive_IT(&huart3, (uint8_t*)&uart3Buffer, 1);

    osEvent JsonQueueEvt;
    t_JsonPackage *JsonBuffer = NULL;

    for (;;) {
        JsonQueueEvt = osMessageGet(JsonQueueHandle, osWaitForever);

        if(JsonQueueEvt.status == osEventMessage){
            JsonBuffer = JsonQueueEvt.value.p;
            uart3_printf("buffer:\r\n %s\r\n", JsonBuffer->JsonString);
            cmd_startParse(JsonBuffer->JsonString);
            osPoolFree(JsonQ_Mem, JsonBuffer);
        }
    }
}

void CANTask(void const *argument) {
    for (;;) {
        osDelay(1000);
    }
}

void ButtonTask(void const *argument) {
    button_init(&KEY1, read_KEY1_GPIO, 0);
    button_init(&KEY2, read_KEY2_GPIO, 0);
    button_init(&KEY3, read_KEY3_GPIO, 0);
    button_init(&KEY4, read_KEY4_GPIO, 0);
    button_init(&KEY5, read_KEY5_GPIO, 0);
    button_init(&KEY6, read_KEY6_GPIO, 0);

    button_attach(&KEY1, PRESS_DOWN, KEY1_PRESS_DOWN_Handler);
    button_attach(&KEY2, PRESS_DOWN, KEY2_PRESS_DOWN_Handler);
    button_attach(&KEY3, PRESS_DOWN, KEY3_PRESS_DOWN_Handler);
    button_attach(&KEY4, PRESS_DOWN, KEY4_PRESS_DOWN_Handler);
    button_attach(&KEY5, PRESS_DOWN, KEY5_PRESS_DOWN_Handler);
    button_attach(&KEY6, PRESS_DOWN, KEY6_PRESS_DOWN_Handler);

    button_start(&KEY1);
    button_start(&KEY2);
    button_start(&KEY3);
    button_start(&KEY4);
    button_start(&KEY5);
    button_start(&KEY6);

    for (;;) {
        button_ticks();
        osDelay(5);
    }
}
/* USER CODE END Application */
